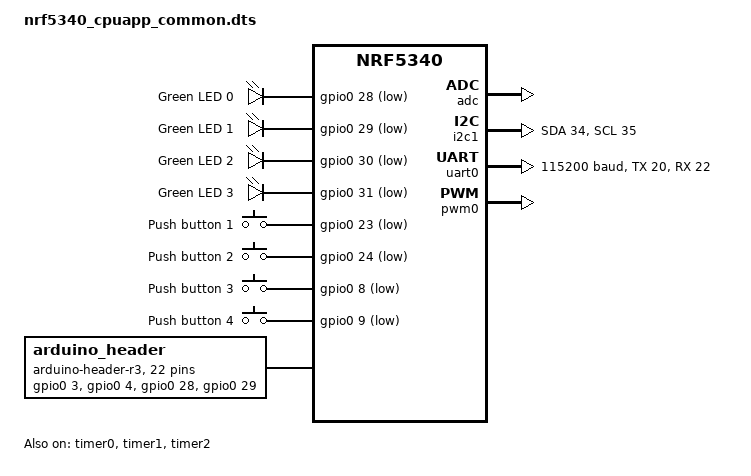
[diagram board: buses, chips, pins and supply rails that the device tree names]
/*
 * Copyright (c) 2019-2020 Nordic Semiconductor ASA
 *
 * SPDX-License-Identifier: Apache-2.0
 */

/ {

	chosen {
		zephyr,console = &uart0;
		zephyr,shell-uart = &uart0;
		zephyr,uart-mcumgr = &uart0;
		zephyr,bt-mon-uart = &uart0;
		zephyr,bt-c2h-uart = &uart0;
	};

	leds {
		compatible = "gpio-leds";
		led0: led_0 {
			gpios = <&gpio0 28 GPIO_ACTIVE_LOW>;
			label = "Green LED 0";
		};
		led1: led_1 {
			gpios = <&gpio0 29 GPIO_ACTIVE_LOW>;
			label = "Green LED 1";
		};
		led2: led_2 {
			gpios = <&gpio0 30 GPIO_ACTIVE_LOW>;
			label = "Green LED 2";
		};
		led3: led_3 {
			gpios = <&gpio0 31 GPIO_ACTIVE_LOW>;
			label = "Green LED 3";
		};
	};

	buttons {
		compatible = "gpio-keys";
		button0: button_0 {
			gpios = <&gpio0 23 (GPIO_PULL_UP | GPIO_ACTIVE_LOW)>;
			label = "Push button 1";
		};
		button1: button_1 {
			gpios = <&gpio0 24 (GPIO_PULL_UP | GPIO_ACTIVE_LOW)>;
			label = "Push button 2";
		};
		button2: button_2 {
			gpios = <&gpio0 8 (GPIO_PULL_UP | GPIO_ACTIVE_LOW)>;
			label = "Push button 3";
		};
		button3: button_3 {
			gpios = <&gpio0 9 (GPIO_PULL_UP | GPIO_ACTIVE_LOW)>;
			label = "Push button 4";
		};
	};


	arduino_header: connector {
		compatible = "arduino-header-r3";
		#gpio-cells = <2>;
		gpio-map-mask = <0xffffffff 0xffffffc0>;
		gpio-map-pass-thru = <0 0x3f>;
		gpio-map = <0 0 &gpio0 3 0>,	/* A0 */
				 <1 0 &gpio0 4 0>,	/* A1 */
				 <2 0 &gpio0 28 0>,	/* A2 */
				 <3 0 &gpio0 29 0>,	/* A3 */
				 <4 0 &gpio0 30 0>,	/* A4 */
				 <5 0 &gpio0 31 0>,	/* A5 */
				 <6 0 &gpio1 1 0>,	/* D0 */
				 <7 0 &gpio1 2 0>,	/* D1 */
				 <8 0 &gpio1 3 0>,	/* D2 */
				 <9 0 &gpio1 4 0>,	/* D3 */
				 <10 0 &gpio1 5 0>,	/* D4 */
				 <11 0 &gpio1 6 0>,	/* D5 */
				 <12 0 &gpio1 7 0>,	/* D6 */
				 <13 0 &gpio1 8 0>,	/* D7 */
				 <14 0 &gpio1 10 0>,	/* D8 */
				 <15 0 &gpio1 11 0>,	/* D9 */
				 <16 0 &gpio1 12 0>,	/* D10 */
				 <17 0 &gpio1 13 0>,	/* D11 */
				 <18 0 &gpio1 14 0>,	/* D12 */
				 <19 0 &gpio1 15 0>,	/* D13 */
				 <20 0 &gpio0 26 0>,	/* D14 */
				 <21 0 &gpio0 27 0>;	/* D15 */
	};



	/* These aliases are provided for compatibility with samples */
	aliases {
		led0 = &led0;
		led1 = &led1;
		led2 = &led2;
		led3 = &led3;
		sw0 = &button0;
		sw1 = &button1;
		sw2 = &button2;
		sw3 = &button3;
	};
};

&adc {
	status = "okay";
};

&gpiote {
	status = "okay";
};

&gpio0 {
	status = "okay";
};

&gpio1 {
	status = "okay";
};

arduino_i2c: &i2c1 {
	compatible = "nordic,nrf-twim";
	status = "okay";
	sda-pin = <34>;
	scl-pin = <35>;
};

&uart0 {
	status = "okay";
	current-speed = <115200>;
	tx-pin = <20>;
	rx-pin = <22>;
	rts-pin = <19>;
	cts-pin = <21>;
};

&pwm0 {
	status = "okay";
	ch0-pin = <28>;
};

&timer0 {
	status = "okay";
};

&timer1 {
	status = "okay";
};

&timer2 {
	status = "okay";
};

&flash0 {
	/*
	 * For more information, see:
	 * https://docs.zephyrproject.org/latest/guides/dts/legacy-macros.html#legacy-flash-partitions
	 */
	partitions {
		compatible = "fixed-partitions";
		#address-cells = <1>;
		#size-cells = <1>;

		boot_partition: partition@0 {
			label = "mcuboot";
			reg = <0x00000000 0x00010000>;
		};
		slot0_partition: partition@10000 {
			label = "image-0";
		};
		slot0_ns_partition: partition@50000 {
			label = "image-0-nonsecure";
		};
		slot1_partition: partition@80000 {
			label = "image-1";
		};
		slot1_ns_partition: partition@c0000 {
			label = "image-1-nonsecure";
		};
		scratch_partition: partition@f0000 {
			label = "image-scratch";
			reg = <0x000f0000 0xa000>;
		};
		storage_partition: partition@fa000 {
			label = "storage";
			reg = <0x000fa000 0x00006000>;
		};
	};

};

/ {

	reserved-memory {
		#address-cells = <1>;
		#size-cells = <1>;
		ranges;

		sram0_image: image@20000000 {
			/* Zephyr image(s) memory */
		};

		sram0_s: image_s@20000000 {
			/* Secure image memory */
		};

		sram0_ns: image_ns@20010000 {
			/* Non-Secure image memory */
		};
	};
};

/* Include partition configuration file */
#include "nrf5340_cpuapp_partition_conf.dts"
